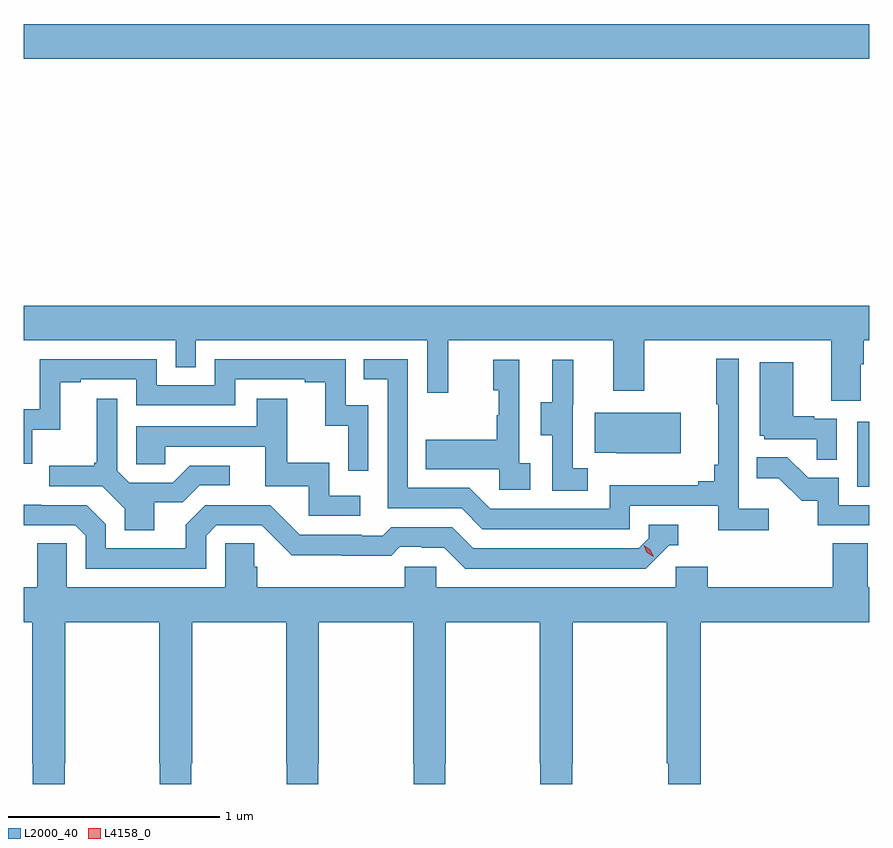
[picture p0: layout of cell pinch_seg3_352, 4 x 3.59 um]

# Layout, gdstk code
import gdstk
lib = gdstk.Library(unit=1e-6, precision=1e-09)
def R(c, l, rs):  # rectangles x0, y0, x1, y1
    for r in rs: c.add(gdstk.rectangle(r[:2], r[2:], *l))
def P(c, l, *ps):  # polygons
    for p in ps: c.add(gdstk.Polygon(p, *l))
L2000_40 = (2000, 40)
L4158_0 = (4158, 0)

pinch_seg3_352 = lib.new_cell('pinch_seg3_352')
R(pinch_seg3_352, L2000_40, [(962.564,696.228,962.621,696.535), (958.621,698.252,962.621,698.416)])
P(pinch_seg3_352, L2000_40, [(962.581,696.808),(962.594,696.808),(962.594,696.92),(962.621,696.92),(962.621,697.084),(958.621,697.084),(958.621,696.92),(959.34,696.92),(959.34,696.793),(959.436,696.793),(959.436,696.92),(960.531,696.92),(960.531,696.672),(960.629,696.672),(960.629,696.92),(961.409,696.92),(961.409,696.681),(961.557,696.681),(961.557,696.92),(962.441,696.92),(962.441,696.634),(962.581,696.634)],
  [(962.146,696.124),(962.004,696.124),(962.004,696.832),(961.896,696.832),(961.896,696.619),(961.907,696.619),(961.907,696.331),(961.888,696.331),(961.888,696.254),(961.811,696.254),(961.811,696.235),(961.392,696.235),(961.392,696.123),(960.828,696.123),(960.729,696.222),(960.438,696.222),(960.438,696.831),(960.229,696.831),(960.229,696.735),(960.342,696.735),(960.342,696.126),(960.692,696.126),(960.791,696.027),(961.488,696.027),(961.488,696.138),(961.907,696.138),(961.907,696.022),(962.146,696.022)],
  [(960.252,696.612),(960.144,696.612),(960.144,696.831),(959.526,696.831),(959.526,696.708),(959.25,696.708),(959.25,696.831),(958.698,696.831),(958.698,696.595),(958.621,696.595),(958.621,696.336),(958.662,696.336),(958.662,696.497),(958.795,696.497),(958.795,696.723),(958.891,696.723),(958.891,696.735),(959.154,696.735),(959.154,696.612),(959.622,696.612),(959.622,696.735),(959.951,696.735),(959.951,696.723),(960.047,696.723),(960.047,696.515),(960.156,696.515),(960.156,696.303),(960.252,696.303)],
  [(961.288,696.315),(961.218,696.315),(961.218,696.615),(961.22,696.615),(961.22,696.829),(961.121,696.829),(961.121,696.627),(961.067,696.627),(961.067,696.472),(961.122,696.472),(961.122,696.208),(961.288,696.208)],
  [(961.018,696.338),(960.966,696.338),(960.966,696.829),(960.842,696.829),(960.842,696.684),(960.868,696.684),(960.868,696.566),(960.858,696.566),(960.858,696.451),(960.523,696.451),(960.523,696.311),(960.87,696.311),(960.87,696.213),(961.018,696.213)],
  [(962.466,696.549),(962.36,696.549),(962.36,696.562),(962.26,696.562),(962.26,696.817),(962.102,696.817),(962.102,696.468),(962.124,696.468),(962.124,696.453),(962.371,696.453),(962.371,696.355),(962.466,696.355)],
  [(959.239,696.154),(959.374,696.154),(959.454,696.234),(959.596,696.234),(959.596,696.327),(959.408,696.327),(959.327,696.246),(959.121,696.246),(959.064,696.303),(959.064,696.643),(958.967,696.643),(958.967,696.34),(958.956,696.34),(958.956,696.328),(958.743,696.328),(958.743,696.231),(958.992,696.231),(959.099,696.124),(959.099,696.022),(959.239,696.022)],
  [(960.214,696.186),(960.066,696.186),(960.066,696.34),(959.867,696.34),(959.867,696.643),(959.723,696.643),(959.723,696.513),(959.154,696.513),(959.154,696.333),(959.291,696.333),(959.291,696.417),(959.765,696.417),(959.765,696.231),(959.97,696.231),(959.97,696.09),(960.214,696.09)],
  [(961.729,696.577),(961.321,696.577),(961.321,696.389),(961.423,696.389),(961.423,696.386),(961.729,696.386)],
  [(962.621,696.141),(962.475,696.141),(962.475,696.27),(962.331,696.27),(962.233,696.368),(962.089,696.368),(962.089,696.269),(962.193,696.269),(962.3,696.162),(962.377,696.162),(962.377,696.045),(962.621,696.045)],
  [(959.484,695.997),(959.532,696.045),(959.748,696.045),(959.89,695.903),(960.126,695.903),(960.126,695.901),(960.359,695.901),(960.401,695.943),(960.504,695.943),(960.504,695.94),(960.611,695.94),(960.71,695.841),(961.563,695.841),(961.674,695.952),(961.717,695.952),(961.717,696.048),(961.578,696.048),(961.578,695.985),(961.53,695.937),(960.747,695.937),(960.648,696.036),(960.359,696.036),(960.32,695.997),(960.221,695.997),(960.221,696),(959.928,696),(959.787,696.141),(959.481,696.141),(959.387,696.047),(959.387,695.937),(959.01,695.937),(959.01,696.051),(958.92,696.141),(958.704,696.141),(958.704,696.143),(958.621,696.143),(958.621,696.045),(958.866,696.045),(958.914,695.997),(958.914,695.841),(959.484,695.841)],
  [(958.815,694.921),(958.818,694.921),(958.818,695.588),(959.263,695.588),(959.263,694.921),(959.265,694.921),(959.265,694.822),(959.415,694.822),(959.415,694.921),(959.418,694.921),(959.418,695.588),(959.863,695.588),(959.863,694.921),(959.865,694.921),(959.865,694.822),(960.015,694.822),(960.015,694.921),(960.018,694.921),(960.018,695.588),(960.463,695.588),(960.463,694.921),(960.465,694.921),(960.465,694.822),(960.615,694.822),(960.615,694.921),(960.618,694.921),(960.618,695.588),(961.063,695.588),(961.063,694.921),(961.065,694.921),(961.065,694.822),(961.215,694.822),(961.215,694.921),(961.218,694.921),(961.218,695.588),(961.663,695.588),(961.663,694.921),(961.669,694.921),(961.669,694.822),(961.823,694.822),(961.823,695.588),(962.621,695.588),(962.621,695.752),(962.612,695.752),(962.612,695.96),(962.447,695.96),(962.447,695.752),(961.856,695.752),(961.856,695.85),(961.704,695.85),(961.704,695.752),(960.573,695.752),(960.573,695.85),(960.423,695.85),(960.423,695.752),(959.726,695.752),(959.726,695.85),(959.711,695.85),(959.711,695.96),(959.574,695.96),(959.574,695.752),(958.824,695.752),(958.824,695.96),(958.685,695.96),(958.685,695.752),(958.621,695.752),(958.621,695.588),(958.663,695.588),(958.663,694.921),(958.665,694.921),(958.665,694.822),(958.815,694.822)])
P(pinch_seg3_352, L4158_0, [(961.599,695.897),(961.569,695.917),(961.553,695.95),(961.553,695.95),(961.553,695.95),(961.584,695.93),(961.599,695.898),(961.599,695.897)])

lib.write_gds('pinch_seg3_352.gds')
